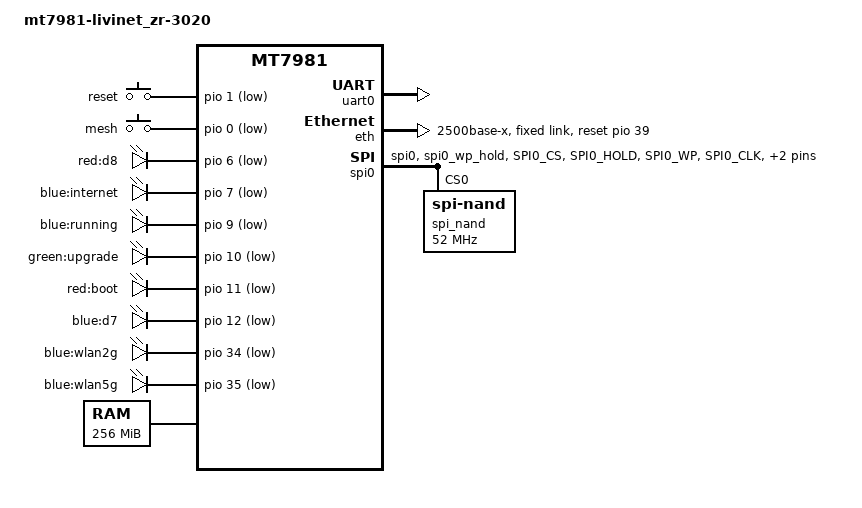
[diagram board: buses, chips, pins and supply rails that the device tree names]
/dts-v1/;
#include "mt7981.dtsi"
#include <dt-bindings/gpio/gpio.h>

/ {
	#address-cells = <1>;
	#size-cells = <1>;
	model = "mt7981-livinet_zr-3020";
	compatible = "mediatek,mt7981", "mediatek,mt7981-rfb";

	chosen {
		stdout-path = &uart0;
		tick-timer = &timer0;
	};

	config {
		bootcmd = "mtkboardboot";
		blink_led = "red:d8";
		system_led = "green:upgrade";
	};

	gpio-keys {
		compatible = "gpio-keys";

		button-reset {
			label = "reset";
			linux,code = <KEY_RESTART>;
			gpios = <&pio 1 GPIO_ACTIVE_LOW>;
		};

		button-mesh {
			label = "mesh";
			linux,code = <BTN_9>;
			gpios = <&pio 0 GPIO_ACTIVE_LOW>;
		};
	};

	leds {
		compatible = "gpio-leds";

		led-0 {
			label = "red:d8";
			gpios = <&pio 6 GPIO_ACTIVE_LOW>;
		};

		led-1 {
			label = "blue:internet";
			gpios = <&pio 7 GPIO_ACTIVE_LOW>;
		};

		running_led: led-2 {
			label = "blue:running";
			gpios = <&pio 9 GPIO_ACTIVE_LOW>;
		};

		upgrade_led: led-3 {
			label = "green:upgrade";
			gpios = <&pio 10 GPIO_ACTIVE_LOW>;
		};

		boot_led: led-4 {
			label = "red:boot";
			gpios = <&pio 11 GPIO_ACTIVE_LOW>;
		};

		led-6 {
			label = "blue:d7";
			gpios = <&pio 12 GPIO_ACTIVE_LOW>;
		};

		led-7 {
			label = "blue:wlan2g";
			gpios = <&pio 34 GPIO_ACTIVE_LOW>;
		};

		led-8 {
			label = "blue:wlan5g";
			gpios = <&pio 35 GPIO_ACTIVE_LOW>;
		};
	};

	memory@40000000 {
		device_type = "memory";
		reg = <0x40000000 0x10000000>;
	};

	bl2_verify {
		bl2_compatible = "spim-nand";
	};
};

&uart0 {
	status = "okay";
};

&eth {
	status = "okay";
	mediatek,gmac-id = <0>;
	phy-mode = "2500base-x";
	mediatek,switch = "auto";
	reset-gpios = <&pio 39 GPIO_ACTIVE_HIGH>;

	fixed-link {
		speed = <2500>;
		full-duplex;
	};
};

&pio {
	spi_flash_pins: spi0-pins-func-1 {
		mux {
			function = "flash";
			groups = "spi0", "spi0_wp_hold";
		};

		conf-pu {
			pins = "SPI0_CS", "SPI0_HOLD", "SPI0_WP";
			drive-strength = <MTK_DRIVE_4mA>;
			bias-pull-up = <MTK_PUPD_SET_R1R0_11>;
		};

		conf-pd {
			pins = "SPI0_CLK", "SPI0_MOSI", "SPI0_MISO";
			drive-strength = <MTK_DRIVE_4mA>;
			bias-pull-down = <MTK_PUPD_SET_R1R0_11>;
		};
	};
};

&spi0 {
	#address-cells = <1>;
	#size-cells = <0>;
	pinctrl-names = "default";
	pinctrl-0 = <&spi_flash_pins>;
	status = "okay";
	must_tx;
	enhance_timing;
	dma_ext;
	ipm_design;
	support_quad;
	tick_dly = <2>;
	sample_sel = <0>;

	spi_nand@0 {
		compatible = "spi-nand";
		reg = <0>;
		spi-max-frequency = <52000000>;
	};
};

&watchdog {
	status = "disabled";
};
